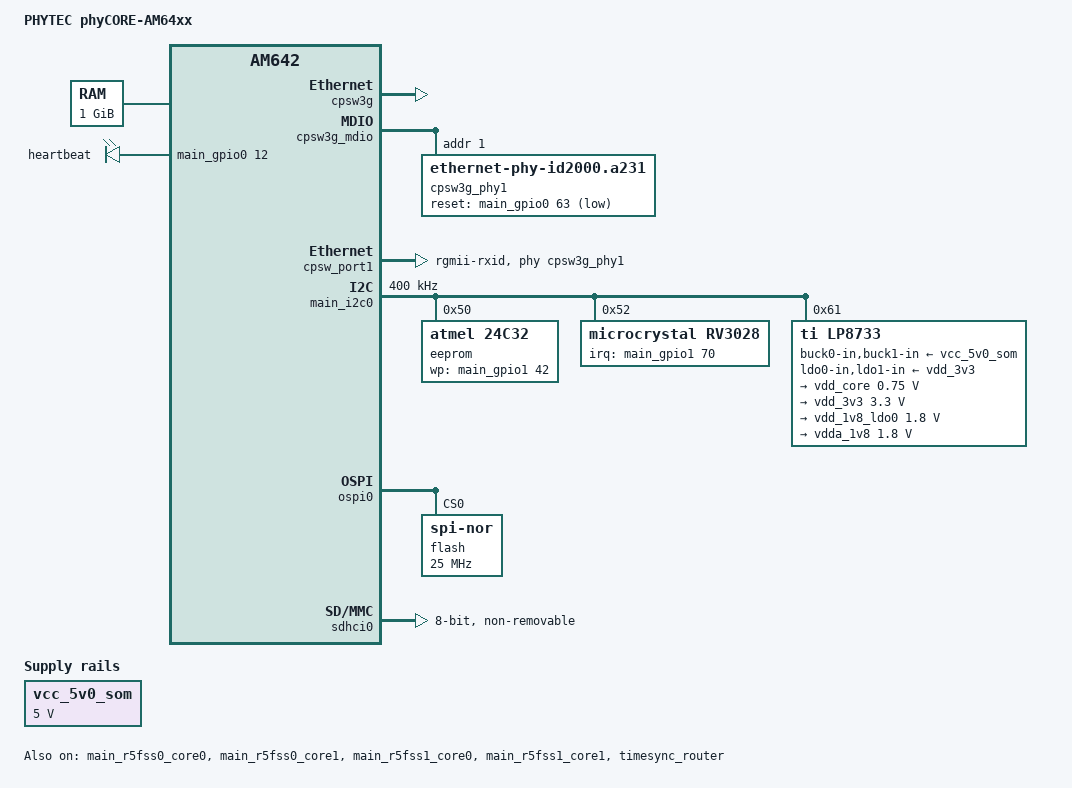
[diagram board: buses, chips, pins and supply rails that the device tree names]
// SPDX-License-Identifier: GPL-2.0
/*
 * Copyright (C) 2021 PHYTEC America, LLC - https://www.phytec.com
 * Author: Matt McKee <mmckee@phytec.com>
 */

#include "k3-am642.dtsi"
#include <dt-bindings/net/ti-dp83867.h>

/ {
	model = "PHYTEC phyCORE-AM64xx";
	compatible = "phytec,am64xx-phycore-som", "ti,am642";

	aliases {
		rtc0 = &rv3028;
	};

	memory@40000000 {
		device_type = "memory";
		reg = <0x00000000 0x40000000 0x00000000 0x40000000>;
	};

	reserved-memory {
		#address-cells = <2>;
		#size-cells = <2>;
		ranges;

		secure_ddr: optee@9e800000 {
			reg = <0x00 0x9e800000 0x00 0x01800000>; /* for OP-TEE */
			alignment = <0x1000>;
			no-map;
		};

		main_r5fss0_core0_dma_memory_region: r5f-dma-memory@a0000000 {
			compatible = "shared-dma-pool";
			reg = <0x00 0xa0000000 0x00 0x100000>;
			no-map;
		};

		main_r5fss0_core0_memory_region: r5f-memory@a0100000 {
			compatible = "shared-dma-pool";
			reg = <0x00 0xa0100000 0x00 0xf00000>;
			no-map;
		};

		main_r5fss0_core1_dma_memory_region: r5f-dma-memory@a1000000 {
			compatible = "shared-dma-pool";
			reg = <0x00 0xa1000000 0x00 0x100000>;
			no-map;
		};

		main_r5fss0_core1_memory_region: r5f-memory@a1100000 {
			compatible = "shared-dma-pool";
			reg = <0x00 0xa1100000 0x00 0xf00000>;
			no-map;
		};

		main_r5fss1_core0_dma_memory_region: r5f-dma-memory@a2000000 {
			compatible = "shared-dma-pool";
			reg = <0x00 0xa2000000 0x00 0x100000>;
			no-map;
		};

		main_r5fss1_core0_memory_region: r5f-memory@a2100000 {
			compatible = "shared-dma-pool";
			reg = <0x00 0xa2100000 0x00 0xf00000>;
			no-map;
		};

		main_r5fss1_core1_dma_memory_region: r5f-dma-memory@a3000000 {
			compatible = "shared-dma-pool";
			reg = <0x00 0xa3000000 0x00 0x100000>;
			no-map;
		};

		main_r5fss1_core1_memory_region: r5f-memory@a3100000 {
			compatible = "shared-dma-pool";
			reg = <0x00 0xa3100000 0x00 0xf00000>;
			no-map;
		};

		rtos_ipc_memory_region: ipc-memories@a5000000 {
			reg = <0x00 0xa5000000 0x00 0x00800000>;
			alignment = <0x1000>;
			no-map;
		};
	};

	leds {
		compatible = "gpio-leds";
		pinctrl-names = "default";
		pinctrl-0 = <&leds_pins_default>;

		/* no MCU pinctrl support yet
		led-red {
			gpios = <&mcu_gpio0 6 GPIO_ACTIVE_HIGH>;
			linux,default-trigger = "gpio";
			default-state = "on";
		};
		*/

		led-green {
			label = "heartbeat";
			gpios = <&main_gpio0 12 GPIO_ACTIVE_HIGH>;
			linux,default-trigger = "heartbeat";
			default-state = "on";
		};
	};

	vcc_5v0_som: fixedregulator-vcc-5v0-som {
		/* VIN / VCC_5V0_SOM */
		compatible = "regulator-fixed";
		regulator-name = "vcc_5v0_som";
		regulator-min-microvolt = <5000000>;
		regulator-max-microvolt = <5000000>;
		regulator-always-on;
		regulator-boot-on;
	};
};

&main_pmx0 {
	cpsw_mdio_pins_default: cpsw-mdio-pins-default {
		pinctrl-single,pins = <
			AM64X_IOPAD(0x01f8, PIN_INPUT, 4)	/* (P5) PRG0_PRU1_GPO18.MDIO0_MDIO */
			AM64X_IOPAD(0x01fc, PIN_OUTPUT, 4)	/* (R2) PRG0_PRU1_GPO19.MDIO0_MDC */
			AM64X_IOPAD(0x0100, PIN_OUTPUT, 7)	/* (V7) PRG1_PRU0_GPO18.GPIO0_63 */
		>;
	};

	cpsw_rgmii1_pins_default: cpsw-rgmii1-pins-default {
		pinctrl-single,pins = <
			AM64X_IOPAD(0x00cc, PIN_INPUT, 4)	/* (V13) PRG1_PRU0_GPO5.RGMII1_RX_CTL */
			AM64X_IOPAD(0x00d8, PIN_INPUT, 4)	/* (W13) PRG1_PRU0_GPO8.RGMII1_RXC */
			AM64X_IOPAD(0x00dc, PIN_OUTPUT, 4)	/* (U15) PRG1_PRU0_GPO9.RGMII1_TX_CTL */
			AM64X_IOPAD(0x00e0, PIN_OUTPUT, 4)	/* (U14) PRG1_PRU0_GPO10.RGMII1_TXC */
			AM64X_IOPAD(0x011c, PIN_INPUT, 4)	/* (AA13) PRG1_PRU1_GPO5.RGMII1_RD0 */
			AM64X_IOPAD(0x0124, PIN_OUTPUT, 4)	/* (V15) PRG1_PRU1_GPO7.RGMII1_TD0 */
			AM64X_IOPAD(0x0128, PIN_INPUT, 4)	/* (U12) PRG1_PRU1_GPO8.RGMII1_RD1 */
			AM64X_IOPAD(0x012c, PIN_OUTPUT, 4)	/* (V14) PRG1_PRU1_GPO9.RGMII1_TD1 */
			AM64X_IOPAD(0x0130, PIN_OUTPUT, 4)	/* (W14) PRG1_PRU1_GPO10.RGMII1_TD2 */
			AM64X_IOPAD(0x014c, PIN_OUTPUT, 4)	/* (AA14) PRG1_PRU1_GPO17.RGMII1_TD3 */
			AM64X_IOPAD(0x0150, PIN_INPUT, 4)	/* (Y13) PRG1_PRU1_GPO18.RGMII1_RD2 */
			AM64X_IOPAD(0x0154, PIN_INPUT, 4)	/* (V12) PRG1_PRU1_GPO19.RGMII1_RD3 */
		>;
	};

	eeprom_wp_pins_default: eeprom-wp-pins-default {
		pinctrl-single,pins = <
			AM64X_IOPAD(0x0208, PIN_OUTPUT, 7)	/* (D12) SPI0_CS0.GPIO1_42 */
		>;
	};

	leds_pins_default: leds-pins-default {
		pinctrl-single,pins = <
			/* no MCU pinctrl support yet? */
			/* AM64X_MCU_IOPAD(0x0, PIN_OUTPUT, 0)	/* (B7) MCU_SPI1_CS1.MCU_GPIO0_6 */
			AM64X_IOPAD(0x0030, PIN_OUTPUT, 7)	/* (L18) OSPI0_CSn1.GPIO0_12 */
		>;
	};

	main_i2c0_pins_default: main-i2c0-pins-default {
		pinctrl-single,pins = <
			AM64X_IOPAD(0x0260, PIN_INPUT, 0)	/* (A18) I2C0_SCL */
			AM64X_IOPAD(0x0264, PIN_INPUT, 0)	/* (B18) I2C0_SDA */
		>;
	};

	ospi0_pins_default: ospi0-pins-default {
		pinctrl-single,pins = <
			AM64X_IOPAD(0x0000, PIN_OUTPUT, 0)	/* (N20) OSPI0_CLK */
			AM64X_IOPAD(0x0008, PIN_INPUT, 0)	/* (N19) OSPI0_DQS */
			AM64X_IOPAD(0x000c, PIN_INPUT, 0)	/* (M19) OSPI0_D0 */
			AM64X_IOPAD(0x0010, PIN_INPUT, 0)	/* (M18) OSPI0_D1 */
			AM64X_IOPAD(0x0014, PIN_INPUT, 0)	/* (M20) OSPI0_D2 */
			AM64X_IOPAD(0x0018, PIN_INPUT, 0)	/* (M21) OSPI0_D3 */
			AM64X_IOPAD(0x001c, PIN_INPUT, 0)	/* (P21) OSPI0_D4 */
			AM64X_IOPAD(0x0020, PIN_INPUT, 0)	/* (P20) OSPI0_D5 */
			AM64X_IOPAD(0x0024, PIN_INPUT, 0)	/* (N18) OSPI0_D6 */
			AM64X_IOPAD(0x0028, PIN_INPUT, 0)	/* (M17) OSPI0_D7 */
			AM64X_IOPAD(0x002c, PIN_OUTPUT, 0)	/* (L19) OSPI0_CSn0 */
		>;
	};

	rtc_pins_default: rtc-pins-default {
		pinctrl-single,pins = <
			AM64X_IOPAD(0x0278, PIN_INPUT, 7)	/* (C19) EXTINTn.GPIO1_70 */
		>;
	};
};

&cpsw3g {
	status = "okay";
	pinctrl-names = "default";
	pinctrl-0 = <&cpsw_mdio_pins_default &cpsw_rgmii1_pins_default>;

	cpts@3d000 {
		ti,pps = <7 1>;
	};
};

&cpsw3g_mdio {
	status = "okay";


	cpsw3g_phy1: ethernet-phy@1 {
		compatible = "ethernet-phy-id2000.a231", "ethernet-phy-ieee802.3-c22";
		reg = <1>;
		ti,rx-internal-delay = <DP83867_RGMIIDCTL_2_00_NS>;
		ti,fifo-depth = <DP83867_PHYCR_FIFO_DEPTH_4_B_NIB>;

		reset-gpios = <&main_gpio0 63 GPIO_ACTIVE_LOW>;
		reset-assert-us = <1000>;
		reset-deassert-us = <1000>;
	};
};

&cpsw_port1 {
	status = "okay";
	phy-mode = "rgmii-rxid";
	phy-handle = <&cpsw3g_phy1>;
};

&cpsw_port2 {
	status = "disabled";
};

&mailbox0_cluster2 {
	status = "okay";

	mbox_main_r5fss0_core0: mbox-main-r5fss0-core0 {
		ti,mbox-rx = <0 0 2>;
		ti,mbox-tx = <1 0 2>;
	};

	mbox_main_r5fss0_core1: mbox-main-r5fss0-core1 {
		ti,mbox-rx = <2 0 2>;
		ti,mbox-tx = <3 0 2>;
	};
};

&mailbox0_cluster3 {
	status = "disabled";
};

&mailbox0_cluster4 {
	status = "okay";

	mbox_main_r5fss1_core0: mbox-main-r5fss1-core0 {
		ti,mbox-rx = <0 0 2>;
		ti,mbox-tx = <1 0 2>;
	};

	mbox_main_r5fss1_core1: mbox-main-r5fss1-core1 {
		ti,mbox-rx = <2 0 2>;
		ti,mbox-tx = <3 0 2>;
	};
};

&mailbox0_cluster5 {
	status = "disabled";
};

&mailbox0_cluster6 {
	status = "okay";

	mbox_m4_0: mbox-m4-0 {
		ti,mbox-rx = <0 0 2>;
		ti,mbox-tx = <1 0 2>;
	};
};

&mailbox0_cluster7 {
	status = "disabled";
};

&main_i2c0 {
	status = "okay";
	pinctrl-names = "default";
	pinctrl-0 = <&main_i2c0_pins_default>;
	clock-frequency = <400000>;

	eeprom@50 {
		compatible = "atmel,24c32";
		pinctrl-names = "default";
		pinctrl-0 = <&eeprom_wp_pins_default>;
		wp-gpios = <&main_gpio1 42 GPIO_ACTIVE_HIGH>;
		pagesize = <32>;
		reg = <0x50>;
	};

	rv3028: rtc@52 {
		compatible = "microcrystal,rv3028";
		pinctrl-names = "default";
		pinctrl-0 = <&rtc_pins_default>;
		reg = <0x52>;
		interrupt-parent = <&main_gpio1>;
		interrupts = <70 IRQ_TYPE_LEVEL_LOW>;
		wakeup-source;
		enable-level-switching-mode;
		trickle-resistor-ohms = <3000>;
	};

	lp8733: lp8733@61 {
		compatible = "ti,lp8733";
		reg = <0x61>;

		buck0-in-supply =<&vcc_5v0_som>;
		buck1-in-supply =<&vcc_5v0_som>;
		ldo0-in-supply =<&vdd_3v3>;
		ldo1-in-supply =<&vdd_3v3>;

		lp8733_regulators: regulators {
			vdd_core: buck0 {
				/* VDD_CORE */
				regulator-name = "vdd-core";
				regulator-min-microvolt = <750000>;
				regulator-max-microvolt = <750000>;
				regulator-always-on;
				regulator-boot-on;
			};

			vdd_3v3: buck1 {
				/* VDD_3V3 */
				regulator-name = "vdd-3v3";
				regulator-min-microvolt = <3300000>;
				regulator-max-microvolt = <3300000>;
				regulator-boot-on;
				regulator-always-on;
			};

			vdd_1v8_ldo0: ldo0 {
				/* VDD_1V8_LDO0 */
				regulator-name = "vdd-1v8-ldo0";
				regulator-min-microvolt = <1800000>;
				regulator-max-microvolt = <1800000>;
				regulator-boot-on;
				regulator-always-on;
			};

			vdda_1v8: ldo1 {
				/* VDDA_1V8 */
				regulator-name = "vdda-1v8";
				regulator-min-microvolt = <1800000>;
				regulator-max-microvolt = <1800000>;
				regulator-always-on;
				regulator-boot-on;
			};
		};
	};
};

&main_r5fss0_core0 {
	status = "okay";
	mboxes = <&mailbox0_cluster2 &mbox_main_r5fss0_core0>;
	memory-region = <&main_r5fss0_core0_dma_memory_region>,
			<&main_r5fss0_core0_memory_region>;
	sram = <&main_r5fss0_core0_sram>;
};

&main_r5fss0_core1 {
	status = "okay";
	mboxes = <&mailbox0_cluster2 &mbox_main_r5fss0_core1>;
	memory-region = <&main_r5fss0_core1_dma_memory_region>,
			<&main_r5fss0_core1_memory_region>;
	sram = <&main_r5fss0_core1_sram>;
};

&main_r5fss1_core0 {
	status = "okay";
	mboxes = <&mailbox0_cluster4 &mbox_main_r5fss1_core0>;
	memory-region = <&main_r5fss1_core0_dma_memory_region>,
			<&main_r5fss1_core0_memory_region>;
	sram = <&main_r5fss1_core0_sram>;
};

&main_r5fss1_core1 {
	status = "okay";
	mboxes = <&mailbox0_cluster4 &mbox_main_r5fss1_core1>;
	memory-region = <&main_r5fss1_core1_dma_memory_region>,
			<&main_r5fss1_core1_memory_region>;
	sram = <&main_r5fss1_core1_sram>;
};

/* main_uart1 is reserved for firmware usage */
&main_uart1 {
	status = "reserved";
};

/* mcu_gpio0 is reserved for mcu firmware usage */
&mcu_gpio0 {
	status = "reserved";
};

&oc_sram {
	status = "okay";

	main_r5fss0_core0_sram: r5f-sram@40000 {
		reg = <0x40000 0x40000>;
	};

	main_r5fss0_core1_sram: r5f-sram@80000 {
		reg = <0x80000 0x40000>;
	};

	main_r5fss1_core0_sram: r5f-sram@c0000 {
		reg = <0xc0000 0x40000>;
	};

	main_r5fss1_core1_sram: r5f-sram@100000 {
		reg = <0x100000 0x40000>;
	};
};

&ospi0 {
	status = "okay";
	pinctrl-names = "default";
	pinctrl-0 = <&ospi0_pins_default>;

	flash@0 {
		compatible = "jedec,spi-nor";
		reg = <0x0>;
		spi-tx-bus-width = <8>;
		spi-rx-bus-width = <8>;
		spi-max-frequency = <25000000>;
		cdns,tshsl-ns = <60>;
		cdns,tsd2d-ns = <60>;
		cdns,tchsh-ns = <60>;
		cdns,tslch-ns = <60>;
		cdns,read-delay = <0>;
	};
};

&sdhci0 {
	status = "okay";
	bus-width = <8>;
	non-removable;
	ti,driver-strength-ohm = <50>;
	disable-wp;
	/* temporarily disable hs400 until new eMMC chips can be tested */
	/delete-property/ mmc-hs400-1_8v;
};

#define TS_OFFSET(pa, val)     (0x4+(pa)*4) (0x10000 | val)

&timesync_router {
	status = "okay";
	pinctrl-names = "default";
	pinctrl-0 = <&mcu_cpts_pps>;

	/* Example of the timesync routing */
	mcu_cpts_pps: mcu-cpts-pps {
		pinctrl-single,pins = <
			/* pps [cpts genf1] in22 -> out37 [cpts hw8_push] */
			TS_OFFSET(37, 22)
			/* pps [cpts genf1] in22 -> out25 [SYNC1_OUT pin] */
			TS_OFFSET(25, 22)
		>;
	};
};

/* adc0 is reserved for R5 usage */
&tscadc0 {
	status = "reserved";
};
